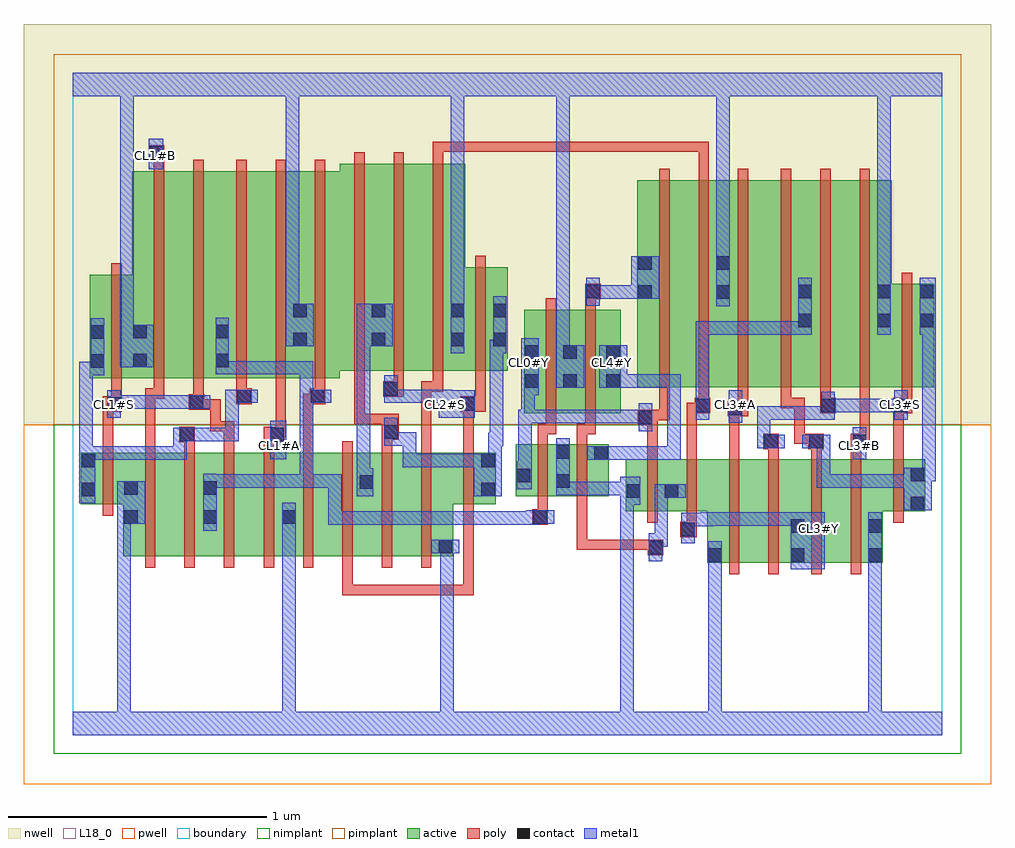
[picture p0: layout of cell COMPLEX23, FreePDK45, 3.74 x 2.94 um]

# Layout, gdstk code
import gdstk
lib = gdstk.Library(unit=1e-6, precision=1e-09)
def R(c, l, rs):  # rectangles x0, y0, x1, y1
    for r in rs: c.add(gdstk.rectangle(r[:2], r[2:], *l))
def A(c, l, x, y, w, h, nx, ny, dx, dy):  # array of equal rectangles
    R(c, l, [(x+i*dx, y+j*dy, x+i*dx+w, y+j*dy+h) for i in range(nx) for j in range(ny)])
active = (1, 0)
pwell = (2, 0)
nwell = (3, 0)
nimplant = (4, 0)
pimplant = (5, 0)
poly = (9, 0)
contact = (10, 0)
metal1 = (11, 0)
L18_0 = (18, 0)
boundary = (235, 0)

complex23 = lib.new_cell('COMPLEX23')
R(complex23, active, [(2.452,0.666,2.632,1.066), (2.452,0.666,2.512,0.956), (2.632,0.666,2.83,1.066), (2.77,0.666,2.95,1.066), (2.77,0.666,2.83,0.838), (2.95,0.666,3.13,1.066), (3.07,0.666,3.13,0.9), (0.196,0.692,0.376,1.092), (0.196,0.692,0.256,1.092), (0.376,0.692,0.56,1.092), (0.5,0.692,0.682,1.092), (0.5,0.692,0.56,0.986), (0.682,0.692,0.866,1.092), (0.806,0.692,0.986,1.092), (0.986,0.692,1.166,1.092), (1.106,0.692,1.29,1.092), (1.106,0.692,1.166,1.092), (1.29,0.692,1.47,1.092), (1.41,0.692,1.47,1.048), (0.806,0.756,0.866,0.874), (2.136,0.866,2.196,1.066), (2.136,0.866,2.344,1.066), (2.284,0.866,2.512,1.066), (3.07,0.866,3.294,1.066), (3.234,0.866,3.294,1.066), (2.284,0.876,2.344,0.974), (0.032,0.892,0.092,1.092), (0.032,0.892,0.256,1.092), (1.41,0.892,1.634,1.092), (1.574,0.892,1.634,1.092), (1.712,0.924,1.772,1.124), (1.712,0.924,1.924,1.124), (1.864,0.924,1.924,1.124), (1.864,0.924,2.072,1.124), (2.012,0.956,2.072,1.124), (1.744,1.244,1.804,1.644), (1.744,1.244,1.952,1.644), (1.892,1.244,2.118,1.644), (2.058,1.244,2.118,1.644), (1.892,1.338,1.952,1.644), (2.182,1.344,2.362,2.144), (2.182,1.344,2.242,2.044), (2.362,1.344,2.542,2.144), (2.482,1.344,2.68,2.144), (2.68,1.344,2.86,2.144), (2.8,1.344,2.984,2.144), (2.984,1.344,3.164,2.144), (3.104,1.344,3.328,1.744), (3.268,1.344,3.328,1.744), (2.8,1.358,2.86,2.044), (0.066,1.38,0.29,1.78), (0.066,1.38,0.126,1.644), (0.23,1.38,0.41,2.18), (0.41,1.38,0.608,2.18), (0.548,1.38,0.728,2.18), (0.548,1.38,0.608,2.044), (0.728,1.38,0.908,2.18), (0.848,1.38,1.032,2.18), (0.848,1.38,0.908,2.044), (1.032,1.408,1.212,2.208), (1.152,1.408,1.336,2.208), (1.152,1.408,1.212,2.044), (1.336,1.408,1.516,2.208), (1.456,1.408,1.68,1.808), (1.456,1.408,1.516,2.208), (1.62,1.408,1.68,1.808), (0.23,1.418,0.29,1.644), (2.482,1.424,2.542,2.044), (3.104,1.43,3.164,2.144)])
R(complex23, pwell, [(-0.188,-0.188,3.548,1.2)])
R(complex23, nwell, [(-0.188,1.2,3.548,2.748)])
R(complex23, nimplant, [(-0.072,-0.072,3.432,1.2)])
R(complex23, pimplant, [(-0.072,1.2,3.432,2.632)])
A(complex23, poly, 0.28, 0.648, 0.04, 0.488, 3, 1, 0.152, 0)
A(complex23, poly, 0.738, 0.648, 0.04, 0.488, 5, 1, 0.152, 0)
A(complex23, poly, 2.266, 1.3, 0.04, 0.888, 3, 1, 0.152, 0)
A(complex23, poly, 2.736, 1.3, 0.04, 0.888, 3, 1, 0.152, 0)
A(complex23, poly, 0.632, 1.336, 0.04, 0.888, 3, 1, 0.152, 0)
A(complex23, poly, 1.088, 1.364, 0.04, 0.888, 3, 1, 0.152, 0)
R(complex23, poly, [(1.042,0.542,1.082,0.582), (1.042,0.542,1.082,0.582), (1.042,0.542,1.082,0.582), (1.042,0.542,1.082,0.688), (1.042,0.542,1.28,0.582), (1.24,0.542,1.28,0.582), (1.24,0.542,1.28,0.582), (1.24,0.542,1.28,0.582), (1.24,0.542,1.386,0.582), (1.346,0.542,1.386,0.582), (1.346,0.542,1.55,0.582), (1.51,0.542,1.55,0.582), (1.51,0.542,1.55,0.582), (1.51,0.542,1.55,0.582), (1.51,0.542,1.55,0.582), (1.51,0.542,1.55,0.582), (1.51,0.542,1.55,0.582), (1.51,0.542,1.55,0.582), (1.51,0.542,1.55,0.888), (2.536,0.622,2.576,1.11), (2.688,0.622,2.728,1.11), (2.854,0.622,2.894,1.11), (3.006,0.622,3.046,1.11), (2.222,0.696,2.282,0.756), (1.948,0.716,1.988,0.756), (1.948,0.716,1.988,0.756), (1.948,0.716,1.988,0.756), (1.948,0.716,2.262,0.756), (1.948,0.716,1.988,0.92), (2.222,0.716,2.262,0.756), (2.222,0.716,2.262,0.756), (2.348,0.766,2.412,0.826), (2.372,0.786,2.412,0.862), (1.776,0.814,1.836,0.874), (2.22,0.822,2.26,1.11), (2.372,0.822,2.412,1.11), (3.17,0.822,3.21,1.11), (1.796,0.834,1.836,0.92), (0.116,0.848,0.156,1.136), (1.51,0.848,1.55,1.136), (1.796,0.88,1.836,1.168), (1.948,0.88,1.988,1.168), (2.22,1.07,2.26,1.238), (2.372,1.07,2.412,1.284), (2.536,1.07,2.576,1.272), (2.688,1.07,2.728,1.146), (2.854,1.07,2.894,1.146), (3.006,1.07,3.046,1.146), (3.17,1.07,3.21,1.284), (0.116,1.096,0.156,1.29), (0.28,1.096,0.32,1.34), (0.432,1.096,0.472,1.172), (0.584,1.096,0.624,1.214), (0.738,1.096,0.778,1.172), (0.89,1.096,0.93,1.32), (1.194,1.096,1.234,1.182), (1.346,1.096,1.386,1.368), (1.51,1.096,1.55,1.29), (2.668,1.106,2.728,1.166), (2.842,1.106,2.902,1.166), (3.006,1.106,3.07,1.166), (2.788,1.126,2.828,1.166), (2.788,1.126,2.882,1.166), (2.788,1.126,2.828,1.304), (3.03,1.126,3.07,1.166), (3.03,1.126,3.08,1.166), (3.04,1.126,3.08,1.34), (1.796,1.128,1.836,1.204), (1.948,1.128,1.988,1.204), (0.412,1.132,0.472,1.192), (0.738,1.132,0.82,1.192), (1.194,1.142,1.26,1.242), (0.78,1.152,0.82,1.192), (0.78,1.152,0.824,1.192), (0.784,1.152,0.824,1.376), (1.796,1.164,1.836,1.204), (1.796,1.164,1.836,1.204), (1.796,1.164,1.868,1.204), (1.828,1.164,1.868,1.24), (1.948,1.164,1.988,1.204), (1.948,1.164,1.988,1.204), (1.948,1.164,2.02,1.204), (1.98,1.164,2.02,1.24), (0.532,1.174,0.572,1.214), (0.532,1.174,0.624,1.214), (0.532,1.174,0.572,1.298), (0.584,1.174,0.624,1.214), (2.184,1.198,2.26,1.258), (1.828,1.2,1.868,1.688), (1.98,1.2,2.02,1.688), (1.088,1.202,1.128,1.242), (1.088,1.202,1.128,1.242), (1.088,1.202,1.128,1.242), (1.088,1.202,1.128,1.242), (1.088,1.202,1.128,1.242), (1.088,1.202,1.128,1.404), (1.088,1.202,1.234,1.242), (2.22,1.218,2.26,1.258), (2.22,1.218,2.306,1.258), (2.266,1.218,2.306,1.34), (2.53,1.232,2.61,1.292), (2.536,1.232,2.576,1.272), (2.536,1.232,2.576,1.272), (2.372,1.244,2.444,1.284), (2.404,1.244,2.444,1.284), (2.404,1.244,2.464,1.304), (2.888,1.244,2.948,1.304), (3.17,1.244,3.21,1.284), (3.17,1.244,3.21,1.284), (3.17,1.244,3.244,1.304), (0.116,1.25,0.19,1.31), (1.498,1.25,1.596,1.31), (1.51,1.25,1.55,1.29), (1.51,1.25,1.55,1.29), (2.57,1.252,2.61,1.34), (0.448,1.258,0.508,1.318), (0.468,1.258,0.572,1.298), (0.532,1.258,0.572,1.298), (2.418,1.264,2.458,1.34), (2.736,1.264,2.776,1.34), (2.736,1.264,2.776,1.304), (2.736,1.264,2.828,1.304), (2.788,1.264,2.828,1.304), (2.888,1.264,2.928,1.34), (3.204,1.264,3.244,1.34), (0.15,1.27,0.19,1.31), (0.15,1.27,0.19,1.31), (0.15,1.27,0.19,1.376), (1.556,1.27,1.596,1.404), (0.466,1.278,0.506,1.376), (0.632,1.28,0.692,1.34), (0.89,1.28,0.956,1.32), (0.916,1.28,0.956,1.32), (0.916,1.28,0.976,1.34), (0.28,1.3,0.336,1.34), (0.296,1.3,0.336,1.34), (0.296,1.3,0.354,1.34), (0.314,1.3,0.354,1.376), (0.632,1.3,0.672,1.376), (0.936,1.3,0.976,1.376), (3.204,1.3,3.244,1.788), (1.2,1.308,1.28,1.368), (1.24,1.328,1.28,1.404), (1.346,1.328,1.416,1.368), (1.376,1.328,1.416,1.368), (1.376,1.328,1.432,1.368), (1.392,1.328,1.432,1.404), (0.15,1.336,0.19,1.824), (0.314,1.336,0.354,2.224), (0.466,1.336,0.506,2.224), (1.556,1.364,1.596,1.852), (1.98,1.648,2.02,1.724), (1.98,1.684,2.04,1.744), (2.418,2.148,2.458,2.294), (0.314,2.184,0.354,2.26), (1.392,2.212,1.432,2.294), (0.294,2.22,0.354,2.28), (1.392,2.254,1.432,2.294), (1.392,2.254,1.432,2.294), (1.392,2.254,1.432,2.294), (1.392,2.254,1.596,2.294), (1.556,2.254,1.596,2.294), (1.556,2.254,1.704,2.294), (1.664,2.254,1.704,2.294), (1.664,2.254,1.704,2.294), (1.664,2.254,1.704,2.294), (1.664,2.254,1.882,2.294), (1.842,2.254,1.882,2.294), (1.842,2.254,1.882,2.294), (1.842,2.254,1.882,2.294), (1.842,2.254,2.118,2.294), (2.078,2.254,2.118,2.294), (2.078,2.254,2.118,2.294), (2.078,2.254,2.118,2.294), (2.078,2.254,2.234,2.294), (2.194,2.254,2.234,2.294), (2.194,2.254,2.234,2.294), (2.194,2.254,2.234,2.294), (2.194,2.254,2.458,2.294), (2.418,2.254,2.458,2.294), (2.418,2.254,2.458,2.294), (2.418,2.254,2.458,2.294)])
A(complex23, contact, 0.852, 1.504, 0.052, 0.052, 3, 2, 0.304, 0.112)
R(complex23, contact, [(2.456,0.67,2.508,0.722), (2.774,0.67,2.826,0.722), (3.074,0.67,3.126,0.722), (2.226,0.7,2.278,0.752), (1.414,0.704,1.466,0.756), (2.352,0.77,2.404,0.822), (2.774,0.782,2.826,0.834), (3.074,0.782,3.126,0.834), (0.2,0.818,0.252,0.87), (0.504,0.818,0.556,0.87), (0.81,0.818,0.862,0.87), (1.78,0.818,1.832,0.87), (3.238,0.87,3.29,0.922), (2.14,0.918,2.192,0.97), (2.288,0.918,2.34,0.97), (0.036,0.924,0.088,0.976), (1.578,0.924,1.63,0.976), (0.2,0.93,0.252,0.982), (0.504,0.93,0.556,0.982), (1.11,0.952,1.162,1.004), (1.868,0.956,1.92,1.008), (1.716,0.978,1.768,1.03), (3.238,0.982,3.29,1.034), (0.036,1.036,0.088,1.088), (1.578,1.036,1.63,1.088), (2.016,1.064,2.068,1.116), (1.868,1.068,1.92,1.12), (2.672,1.11,2.724,1.162), (2.846,1.11,2.898,1.162), (3.014,1.11,3.066,1.162), (0.416,1.136,0.468,1.188), (0.764,1.136,0.816,1.188), (1.204,1.146,1.256,1.198), (2.188,1.202,2.24,1.254), (2.534,1.236,2.586,1.288), (2.408,1.248,2.46,1.3), (2.892,1.248,2.944,1.3), (3.174,1.248,3.226,1.3), (0.134,1.254,0.186,1.306), (1.502,1.254,1.554,1.306), (0.452,1.262,0.504,1.314), (0.636,1.284,0.688,1.336), (0.92,1.284,0.972,1.336), (1.204,1.312,1.256,1.364), (1.748,1.342,1.8,1.394), (1.896,1.342,1.948,1.394), (2.062,1.342,2.114,1.394), (0.07,1.42,0.122,1.472), (0.234,1.422,0.286,1.474), (0.552,1.422,0.604,1.474), (1.748,1.454,1.8,1.506), (1.896,1.454,1.948,1.506), (2.062,1.454,2.114,1.506), (1.624,1.504,1.676,1.556), (0.07,1.532,0.122,1.584), (0.234,1.534,0.286,1.586), (0.552,1.534,0.604,1.586), (2.804,1.576,2.856,1.628), (3.108,1.576,3.16,1.628), (3.272,1.576,3.324,1.628), (1.624,1.616,1.676,1.668), (2.186,1.686,2.238,1.738), (2.486,1.686,2.538,1.738), (1.984,1.688,2.036,1.74), (2.804,1.688,2.856,1.74), (3.108,1.688,3.16,1.74), (3.272,1.688,3.324,1.74), (2.186,1.798,2.238,1.85), (2.486,1.798,2.538,1.85), (0.298,2.224,0.35,2.276)])
R(complex23, metal1, [(0,0,3.36,0.092), (0.172,0.04,0.224,0.092), (0.172,0.04,0.224,0.092), (0.172,0.04,0.224,0.092), (0.172,0.04,0.224,0.092), (0.172,0.04,0.224,0.092), (0.172,0.04,0.224,0.092), (0.172,0.04,0.224,0.092), (0.172,0.04,0.224,0.092), (0.172,0.04,0.224,0.092), (0.172,0.04,0.224,0.092), (0.172,0.04,0.224,0.87), (0.81,0.04,0.862,0.092), (0.81,0.04,0.862,0.092), (0.81,0.04,0.862,0.092), (0.81,0.04,0.862,0.092), (0.81,0.04,0.862,0.092), (0.81,0.04,0.862,0.092), (0.81,0.04,0.862,0.092), (0.81,0.04,0.862,0.092), (0.81,0.04,0.862,0.092), (0.81,0.04,0.862,0.092), (0.81,0.04,0.862,0.092), (0.81,0.04,0.862,0.092), (0.81,0.04,0.862,0.842), (1.42,0.04,1.472,0.092), (1.42,0.04,1.472,0.092), (1.42,0.04,1.472,0.092), (1.42,0.04,1.472,0.092), (1.42,0.04,1.472,0.092), (1.42,0.04,1.472,0.092), (1.42,0.04,1.472,0.092), (1.42,0.04,1.472,0.092), (1.42,0.04,1.472,0.092), (1.42,0.04,1.472,0.092), (1.42,0.04,1.472,0.756), (2.116,0.04,2.168,0.092), (2.116,0.04,2.168,0.092), (2.116,0.04,2.168,0.092), (2.116,0.04,2.168,0.092), (2.116,0.04,2.168,0.092), (2.116,0.04,2.168,0.092), (2.116,0.04,2.168,0.092), (2.116,0.04,2.168,0.092), (2.116,0.04,2.168,0.092), (2.116,0.04,2.168,0.092), (2.116,0.04,2.168,0.092), (2.116,0.04,2.168,0.092), (2.116,0.04,2.168,0.092), (2.116,0.04,2.168,0.092), (2.116,0.04,2.168,0.942), (2.456,0.04,2.508,0.092), (2.456,0.04,2.508,0.092), (2.456,0.04,2.508,0.092), (2.456,0.04,2.508,0.092), (2.456,0.04,2.508,0.092), (2.456,0.04,2.508,0.092), (2.456,0.04,2.508,0.092), (2.456,0.04,2.508,0.092), (2.456,0.04,2.508,0.092), (2.456,0.04,2.508,0.092), (2.456,0.04,2.508,0.694), (3.074,0.04,3.126,0.092), (3.074,0.04,3.126,0.092), (3.074,0.04,3.126,0.092), (3.074,0.04,3.126,0.092), (3.074,0.04,3.126,0.092), (3.074,0.04,3.126,0.092), (3.074,0.04,3.126,0.092), (3.074,0.04,3.126,0.092), (3.074,0.04,3.126,0.694), (2.456,0.642,2.508,0.694), (2.456,0.642,2.508,0.694), (2.456,0.642,2.508,0.75), (2.774,0.642,2.906,0.862), (3.074,0.642,3.126,0.694), (3.074,0.642,3.126,0.694), (3.074,0.642,3.126,0.694), (3.074,0.642,3.126,0.694), (3.074,0.642,3.126,0.862), (2.226,0.672,2.278,0.78), (1.386,0.704,1.494,0.756), (1.42,0.704,1.472,0.756), (1.42,0.704,1.472,0.756), (2.226,0.728,2.3,0.78), (2.248,0.728,2.3,0.78), (2.248,0.728,2.3,0.97), (2.352,0.742,2.404,0.86), (0.504,0.79,0.556,1.01), (0.81,0.79,0.862,0.898), (2.352,0.808,2.476,0.86), (2.424,0.808,2.476,0.862), (2.424,0.81,2.586,0.862), (2.534,0.81,2.586,0.862), (2.534,0.81,2.586,0.862), (2.534,0.81,2.586,0.862), (2.534,0.81,2.76,0.862), (2.708,0.81,2.76,0.862), (2.708,0.81,2.826,0.862), (2.774,0.81,2.826,0.862), (2.774,0.81,2.826,0.862), (0.988,0.814,1.04,0.866), (0.988,0.814,1.046,0.866), (0.988,0.814,1.04,1.008), (0.994,0.814,1.046,0.866), (0.994,0.814,1.156,0.866), (1.104,0.814,1.156,0.866), (1.104,0.814,1.156,0.866), (1.104,0.814,1.156,0.866), (1.104,0.814,1.266,0.866), (1.214,0.814,1.266,0.866), (1.214,0.814,1.362,0.866), (1.31,0.814,1.362,0.866), (1.31,0.814,1.492,0.866), (1.44,0.814,1.492,0.866), (1.44,0.814,1.492,0.866), (1.44,0.814,1.492,0.866), (1.44,0.814,1.602,0.866), (1.55,0.814,1.602,0.866), (1.55,0.814,1.602,0.866), (1.55,0.814,1.602,0.866), (1.55,0.814,1.804,0.866), (1.752,0.814,1.804,0.87), (0.172,0.818,0.224,0.87), (0.172,0.818,0.224,0.87), (0.172,0.818,0.28,0.982), (1.752,0.818,1.804,0.87), (1.752,0.818,1.86,0.87), (3.21,0.87,3.318,1.034), (2.116,0.89,2.168,0.942), (2.116,0.89,2.168,0.942), (2.116,0.89,2.192,0.998), (0.026,0.896,0.088,1.116), (2.248,0.918,2.368,0.97), (1.098,0.924,1.162,1.032), (1.55,0.924,1.658,1.088), (1.868,0.928,1.92,1.148), (1.868,0.928,2.03,0.98), (1.978,0.928,2.03,0.98), (1.978,0.928,2.03,0.98), (1.978,0.928,2.03,0.98), (1.978,0.928,2.168,0.98), (1.716,0.95,1.774,1.058), (0.504,0.956,0.642,1.008), (0.59,0.956,0.642,1.008), (0.59,0.956,0.752,1.008), (0.7,0.956,0.752,1.008), (0.7,0.956,0.752,1.008), (0.7,0.956,0.752,1.008), (0.7,0.956,0.93,1.008), (0.878,0.956,0.93,1.008), (0.878,0.956,0.93,1.008), (0.878,0.956,0.93,1.008), (0.878,0.956,0.936,1.008), (0.878,0.956,0.93,1.336), (0.884,0.956,0.936,1.008), (0.884,0.956,1.04,1.008), (0.988,0.956,1.04,1.008), (2.874,0.956,2.926,1.008), (2.874,0.956,3.116,1.008), (2.874,0.956,2.926,1.162), (3.064,0.956,3.116,1.008), (3.064,0.956,3.116,1.008), (3.064,0.956,3.116,1.008), (3.064,0.956,3.262,1.008), (3.21,0.956,3.262,1.008), (3.21,0.956,3.262,1.008), (1.098,0.98,1.15,1.556), (3.266,0.982,3.318,1.034), (3.266,0.982,3.334,1.034), (3.282,0.982,3.334,1.6), (3.282,0.982,3.334,1.034), (3.282,0.982,3.334,1.034), (1.722,1.006,1.774,1.258), (1.276,1.036,1.328,1.088), (1.276,1.036,1.362,1.088), (1.276,1.036,1.328,1.17), (1.31,1.036,1.362,1.088), (1.31,1.036,1.492,1.088), (1.44,1.036,1.492,1.088), (1.44,1.036,1.492,1.088), (1.44,1.036,1.492,1.088), (1.44,1.036,1.602,1.088), (1.606,1.036,1.658,1.168), (0.026,1.064,0.078,1.116), (0.026,1.064,0.078,1.116), (0.026,1.064,0.078,1.444), (0.036,1.064,0.088,1.116), (0.036,1.064,0.088,1.116), (0.036,1.064,0.296,1.116), (0.244,1.064,0.296,1.116), (0.244,1.064,0.296,1.116), (0.244,1.064,0.296,1.116), (0.244,1.064,0.44,1.116), (0.388,1.064,0.44,1.116), (0.388,1.064,0.44,1.188), (1.988,1.064,2.096,1.116), (2.044,1.064,2.19,1.116), (2.138,1.064,2.19,1.116), (2.138,1.064,2.294,1.116), (2.242,1.064,2.294,1.116), (2.242,1.064,2.35,1.116), (2.298,1.064,2.35,1.116), (2.298,1.064,2.35,1.116), (2.298,1.064,2.35,1.116), (2.298,1.064,2.35,1.394), (0.764,1.066,0.826,1.216), (3.014,1.066,3.066,1.19), (2.644,1.11,2.696,1.162), (2.644,1.11,2.696,1.162), (2.644,1.11,2.752,1.162), (2.644,1.11,2.696,1.272), (2.818,1.11,2.926,1.162), (2.874,1.11,2.926,1.162), (2.874,1.11,2.926,1.162), (1.606,1.116,1.664,1.168), (1.612,1.116,1.664,1.528), (1.204,1.118,1.256,1.226), (1.204,1.118,1.328,1.17), (1.276,1.118,1.328,1.17), (0.388,1.136,0.44,1.188), (0.388,1.136,0.44,1.188), (0.388,1.136,0.496,1.188), (0.444,1.136,0.642,1.188), (0.59,1.136,0.642,1.188), (0.59,1.136,0.642,1.336), (2.188,1.174,2.24,1.282), (1.722,1.206,1.786,1.258), (1.734,1.206,1.786,1.258), (1.734,1.206,1.786,1.258), (1.734,1.206,1.786,1.258), (1.734,1.206,1.786,1.258), (1.734,1.206,1.786,1.258), (1.734,1.206,1.786,1.258), (1.734,1.206,1.914,1.258), (1.734,1.206,1.786,1.366), (1.862,1.206,1.914,1.258), (1.862,1.206,2.03,1.258), (1.978,1.206,2.03,1.258), (1.978,1.206,2.03,1.258), (1.978,1.206,2.03,1.258), (1.978,1.206,2.146,1.258), (2.094,1.206,2.146,1.258), (2.094,1.206,2.24,1.258), (2.534,1.208,2.586,1.334), (2.408,1.22,2.46,1.328), (2.644,1.22,2.696,1.272), (2.644,1.22,2.696,1.272), (2.644,1.22,2.696,1.272), (2.644,1.22,2.816,1.272), (2.764,1.22,2.816,1.272), (2.764,1.22,2.944,1.272), (2.892,1.22,2.944,1.328), (3.174,1.22,3.226,1.334), (0.134,1.226,0.186,1.334), (1.414,1.226,1.554,1.334), (2.892,1.248,2.944,1.3), (2.892,1.248,2.944,1.3), (2.892,1.248,3.054,1.3), (3.002,1.248,3.054,1.3), (3.002,1.248,3.054,1.3), (3.002,1.248,3.054,1.3), (3.002,1.248,3.226,1.3), (0.134,1.262,0.296,1.314), (0.244,1.262,0.296,1.314), (0.244,1.262,0.296,1.314), (0.244,1.262,0.296,1.314), (0.244,1.262,0.296,1.314), (0.244,1.262,0.296,1.314), (0.244,1.262,0.406,1.314), (0.354,1.262,0.406,1.314), (0.354,1.262,0.476,1.314), (0.424,1.262,0.532,1.314), (2.408,1.276,2.46,1.328), (2.408,1.276,2.46,1.328), (2.408,1.276,2.46,1.6), (1.414,1.282,1.466,1.334), (1.414,1.282,1.466,1.336), (0.59,1.284,0.642,1.336), (0.59,1.284,0.66,1.336), (0.608,1.284,0.716,1.336), (0.878,1.284,0.93,1.336), (0.878,1.284,0.93,1.446), (0.878,1.284,0.944,1.336), (0.892,1.284,1,1.336), (1.204,1.284,1.256,1.392), (1.204,1.284,1.266,1.336), (1.214,1.284,1.266,1.336), (1.214,1.284,1.362,1.336), (1.31,1.284,1.362,1.336), (1.31,1.284,1.466,1.336), (1.734,1.314,1.8,1.534), (1.868,1.342,1.976,1.506), (2.034,1.342,2.142,1.506), (2.078,1.342,2.13,1.394), (2.078,1.342,2.13,1.394), (2.078,1.342,2.19,1.394), (2.138,1.342,2.19,1.394), (2.138,1.342,2.19,1.394), (2.138,1.342,2.19,1.394), (2.138,1.342,2.294,1.394), (2.242,1.342,2.294,1.394), (2.242,1.342,2.35,1.394), (2.298,1.342,2.35,1.394), (2.298,1.342,2.35,1.394), (2.298,1.342,2.35,1.394), (0.026,1.392,0.122,1.444), (0.07,1.392,0.122,1.444), (0.07,1.392,0.122,1.612), (0.552,1.394,0.604,1.614), (0.552,1.394,0.642,1.446), (0.59,1.394,0.642,1.446), (0.59,1.394,0.752,1.446), (0.7,1.394,0.752,1.446), (0.7,1.394,0.752,1.446), (0.7,1.394,0.752,1.446), (0.7,1.394,0.93,1.446), (0.878,1.394,0.93,1.446), (0.184,1.422,0.314,1.586), (1.868,1.454,1.92,1.506), (1.868,1.454,1.92,1.506), (1.868,1.454,1.92,1.506), (1.868,1.454,1.92,1.506), (1.868,1.454,1.92,1.506), (1.868,1.454,1.92,1.506), (1.868,1.454,1.92,1.506), (1.868,1.454,1.92,1.506), (1.868,1.454,1.92,1.506), (1.868,1.454,1.92,1.506), (1.868,1.454,1.92,2.52), (1.46,1.476,1.512,1.696), (1.612,1.476,1.676,1.528), (1.624,1.476,1.676,1.528), (1.624,1.476,1.676,1.696), (0.824,1.504,0.932,1.668), (1.098,1.504,1.15,1.556), (1.098,1.504,1.15,1.556), (1.098,1.504,1.15,1.556), (1.098,1.504,1.15,1.556), (1.098,1.504,1.236,1.668), (0.184,1.534,0.236,2.52), (2.408,1.548,2.46,1.6), (2.408,1.548,2.586,1.6), (2.534,1.548,2.586,1.6), (2.534,1.548,2.586,1.6), (2.534,1.548,2.586,1.6), (2.534,1.548,2.76,1.6), (2.708,1.548,2.76,1.6), (2.708,1.548,2.856,1.6), (2.804,1.548,2.856,1.768), (3.108,1.548,3.16,1.768), (3.272,1.548,3.334,1.768), (0.824,1.616,0.876,1.668), (0.824,1.616,0.876,1.668), (0.824,1.616,0.876,2.52), (1.46,1.644,1.512,1.696), (1.46,1.644,1.512,1.696), (1.46,1.644,1.512,2.52), (2.486,1.658,2.538,1.878), (1.984,1.66,2.036,1.768), (1.984,1.686,2.036,1.738), (1.984,1.686,2.036,1.738), (1.984,1.686,2.21,1.738), (2.158,1.686,2.266,1.85), (3.108,1.716,3.16,2.52), (2.486,1.826,2.538,2.52), (0.294,2.186,0.35,2.304), (0,2.468,3.36,2.56), (0.184,2.468,0.236,2.52), (0.184,2.468,0.236,2.52), (0.184,2.468,0.236,2.52), (0.184,2.468,0.236,2.52), (0.184,2.468,0.236,2.52), (0.184,2.468,0.236,2.52), (0.184,2.468,0.236,2.52), (0.184,2.468,0.236,2.52), (0.824,2.468,0.876,2.52), (0.824,2.468,0.876,2.52), (0.824,2.468,0.876,2.52), (0.824,2.468,0.876,2.52), (0.824,2.468,0.876,2.52), (0.824,2.468,0.876,2.52), (1.46,2.468,1.512,2.52), (1.46,2.468,1.512,2.52), (1.46,2.468,1.512,2.52), (1.46,2.468,1.512,2.52), (1.46,2.468,1.512,2.52), (1.46,2.468,1.512,2.52), (1.868,2.468,1.92,2.52), (1.868,2.468,1.92,2.52), (1.868,2.468,1.92,2.52), (1.868,2.468,1.92,2.52), (1.868,2.468,1.92,2.52), (1.868,2.468,1.92,2.52), (2.486,2.468,2.538,2.52), (2.486,2.468,2.538,2.52), (2.486,2.468,2.538,2.52), (2.486,2.468,2.538,2.52), (2.486,2.468,2.538,2.52), (2.486,2.468,2.538,2.52), (2.486,2.468,2.538,2.52), (2.486,2.468,2.538,2.52), (3.108,2.468,3.16,2.52), (3.108,2.468,3.16,2.52), (3.108,2.468,3.16,2.52), (3.108,2.468,3.16,2.52), (3.108,2.468,3.16,2.52), (3.108,2.468,3.16,2.52), (3.108,2.468,3.16,2.52), (3.108,2.468,3.16,2.52)])
R(complex23, L18_0, [(0,0,3.36,0.092), (0.172,0.04,0.224,0.092), (0.172,0.04,0.224,0.092), (0.172,0.04,0.224,0.092), (0.172,0.04,0.224,0.092), (0.172,0.04,0.224,0.092), (0.172,0.04,0.224,0.092), (0.172,0.04,0.224,0.092), (0.172,0.04,0.224,0.092), (0.172,0.04,0.224,0.092), (0.172,0.04,0.224,0.092), (0.172,0.04,0.224,0.87), (0.81,0.04,0.862,0.092), (0.81,0.04,0.862,0.092), (0.81,0.04,0.862,0.092), (0.81,0.04,0.862,0.092), (0.81,0.04,0.862,0.092), (0.81,0.04,0.862,0.092), (0.81,0.04,0.862,0.092), (0.81,0.04,0.862,0.092), (0.81,0.04,0.862,0.092), (0.81,0.04,0.862,0.092), (0.81,0.04,0.862,0.092), (0.81,0.04,0.862,0.092), (0.81,0.04,0.862,0.842), (1.42,0.04,1.472,0.092), (1.42,0.04,1.472,0.092), (1.42,0.04,1.472,0.092), (1.42,0.04,1.472,0.092), (1.42,0.04,1.472,0.092), (1.42,0.04,1.472,0.092), (1.42,0.04,1.472,0.092), (1.42,0.04,1.472,0.092), (1.42,0.04,1.472,0.092), (1.42,0.04,1.472,0.092), (1.42,0.04,1.472,0.756), (2.116,0.04,2.168,0.092), (2.116,0.04,2.168,0.092), (2.116,0.04,2.168,0.092), (2.116,0.04,2.168,0.092), (2.116,0.04,2.168,0.092), (2.116,0.04,2.168,0.092), (2.116,0.04,2.168,0.092), (2.116,0.04,2.168,0.092), (2.116,0.04,2.168,0.092), (2.116,0.04,2.168,0.092), (2.116,0.04,2.168,0.092), (2.116,0.04,2.168,0.092), (2.116,0.04,2.168,0.092), (2.116,0.04,2.168,0.092), (2.116,0.04,2.168,0.942), (2.456,0.04,2.508,0.092), (2.456,0.04,2.508,0.092), (2.456,0.04,2.508,0.092), (2.456,0.04,2.508,0.092), (2.456,0.04,2.508,0.092), (2.456,0.04,2.508,0.092), (2.456,0.04,2.508,0.092), (2.456,0.04,2.508,0.092), (2.456,0.04,2.508,0.092), (2.456,0.04,2.508,0.092), (2.456,0.04,2.508,0.694), (3.074,0.04,3.126,0.092), (3.074,0.04,3.126,0.092), (3.074,0.04,3.126,0.092), (3.074,0.04,3.126,0.092), (3.074,0.04,3.126,0.092), (3.074,0.04,3.126,0.092), (3.074,0.04,3.126,0.092), (3.074,0.04,3.126,0.092), (3.074,0.04,3.126,0.694), (2.456,0.642,2.508,0.75), (2.456,0.642,2.508,0.694), (2.456,0.642,2.508,0.694), (2.774,0.642,2.906,0.862), (3.074,0.642,3.126,0.694), (3.074,0.642,3.126,0.694), (3.074,0.642,3.126,0.694), (3.074,0.642,3.126,0.694), (3.074,0.642,3.126,0.862), (1.386,0.704,1.494,0.756), (1.42,0.704,1.472,0.756), (1.42,0.704,1.472,0.756), (2.352,0.742,2.404,0.86), (2.854,0.774,2.906,0.826), (0.81,0.79,0.862,0.898), (2.352,0.808,2.476,0.86), (2.424,0.808,2.476,0.862), (2.424,0.81,2.586,0.862), (2.534,0.81,2.586,0.862), (2.534,0.81,2.586,0.862), (2.534,0.81,2.586,0.862), (2.534,0.81,2.76,0.862), (2.708,0.81,2.76,0.862), (2.708,0.81,2.826,0.862), (2.774,0.81,2.826,0.862), (2.774,0.81,2.826,0.862), (0.172,0.818,0.224,0.87), (0.172,0.818,0.224,0.87), (0.172,0.818,0.28,0.982), (2.116,0.89,2.168,0.942), (2.116,0.89,2.168,0.942), (2.116,0.89,2.192,0.998), (1.868,0.928,2.03,0.98), (1.868,0.928,1.92,1.148), (1.978,0.928,2.03,0.98), (1.978,0.928,2.03,0.98), (1.978,0.928,2.03,0.98), (1.978,0.928,2.168,0.98), (1.716,0.95,1.774,1.058), (1.722,1.006,1.774,1.258), (1.988,1.064,2.096,1.116), (2.044,1.064,2.19,1.116), (2.138,1.064,2.19,1.116), (2.138,1.064,2.294,1.116), (2.242,1.064,2.294,1.116), (2.242,1.064,2.35,1.116), (2.298,1.064,2.35,1.116), (2.298,1.064,2.35,1.116), (2.298,1.064,2.35,1.116), (2.298,1.064,2.35,1.394), (0.764,1.066,0.826,1.216), (3.014,1.066,3.066,1.19), (0.774,1.094,0.826,1.146), (3.014,1.094,3.066,1.146), (2.644,1.11,2.696,1.162), (2.644,1.11,2.696,1.162), (2.644,1.11,2.752,1.162), (2.644,1.11,2.696,1.272), (2.188,1.174,2.24,1.282), (1.722,1.206,1.786,1.258), (1.734,1.206,1.786,1.258), (1.734,1.206,1.786,1.258), (1.734,1.206,1.786,1.258), (1.734,1.206,1.786,1.258), (1.734,1.206,1.786,1.258), (1.734,1.206,1.786,1.258), (1.734,1.206,1.786,1.366), (1.734,1.206,1.914,1.258), (1.862,1.206,1.914,1.258), (1.862,1.206,2.03,1.258), (1.978,1.206,2.03,1.258), (1.978,1.206,2.03,1.258), (1.978,1.206,2.03,1.258), (1.978,1.206,2.146,1.258), (2.094,1.206,2.146,1.258), (2.094,1.206,2.24,1.258), (2.534,1.208,2.586,1.334), (2.408,1.22,2.46,1.328), (2.644,1.22,2.696,1.272), (2.644,1.22,2.696,1.272), (2.644,1.22,2.696,1.272), (2.644,1.22,2.816,1.272), (2.764,1.22,2.816,1.272), (2.764,1.22,2.944,1.272), (2.892,1.22,2.944,1.328), (3.174,1.22,3.226,1.334), (0.134,1.226,0.186,1.334), (1.414,1.226,1.554,1.334), (2.892,1.248,2.944,1.3), (2.892,1.248,2.944,1.3), (2.892,1.248,3.054,1.3), (3.002,1.248,3.054,1.3), (3.002,1.248,3.054,1.3), (3.002,1.248,3.054,1.3), (3.002,1.248,3.226,1.3), (0.134,1.254,0.186,1.306), (1.414,1.254,1.466,1.306), (2.534,1.254,2.586,1.306), (3.174,1.254,3.226,1.306), (0.134,1.262,0.296,1.314), (0.244,1.262,0.296,1.314), (0.244,1.262,0.296,1.314), (0.244,1.262,0.296,1.314), (0.244,1.262,0.296,1.314), (0.244,1.262,0.296,1.314), (0.244,1.262,0.406,1.314), (0.354,1.262,0.406,1.314), (0.354,1.262,0.476,1.314), (0.424,1.262,0.532,1.314), (2.408,1.276,2.46,1.328), (2.408,1.276,2.46,1.328), (2.408,1.276,2.46,1.6), (1.414,1.282,1.466,1.334), (1.414,1.282,1.466,1.336), (1.204,1.284,1.256,1.392), (1.204,1.284,1.266,1.336), (1.214,1.284,1.266,1.336), (1.214,1.284,1.362,1.336), (1.31,1.284,1.362,1.336), (1.31,1.284,1.466,1.336), (1.734,1.314,1.8,1.534), (1.868,1.342,1.976,1.506), (2.034,1.342,2.142,1.506), (2.078,1.342,2.13,1.394), (2.078,1.342,2.13,1.394), (2.078,1.342,2.19,1.394), (2.138,1.342,2.19,1.394), (2.138,1.342,2.19,1.394), (2.138,1.342,2.19,1.394), (2.138,1.342,2.294,1.394), (2.242,1.342,2.294,1.394), (2.242,1.342,2.35,1.394), (2.298,1.342,2.35,1.394), (2.298,1.342,2.35,1.394), (2.298,1.342,2.35,1.394), (1.734,1.414,1.786,1.466), (2.054,1.414,2.106,1.466), (0.184,1.422,0.314,1.586), (1.868,1.454,1.92,1.506), (1.868,1.454,1.92,1.506), (1.868,1.454,1.92,1.506), (1.868,1.454,1.92,1.506), (1.868,1.454,1.92,1.506), (1.868,1.454,1.92,1.506), (1.868,1.454,1.92,1.506), (1.868,1.454,1.92,1.506), (1.868,1.454,1.92,1.506), (1.868,1.454,1.92,1.506), (1.868,1.454,1.92,2.52), (1.46,1.476,1.512,1.696), (0.824,1.504,0.932,1.668), (0.184,1.534,0.236,2.52), (2.408,1.548,2.46,1.6), (2.408,1.548,2.586,1.6), (2.534,1.548,2.586,1.6), (2.534,1.548,2.586,1.6), (2.534,1.548,2.586,1.6), (2.534,1.548,2.76,1.6), (2.708,1.548,2.76,1.6), (2.708,1.548,2.856,1.6), (2.804,1.548,2.856,1.768), (3.108,1.548,3.16,1.768), (0.824,1.616,0.876,1.668), (0.824,1.616,0.876,1.668), (0.824,1.616,0.876,2.52), (1.46,1.644,1.512,1.696), (1.46,1.644,1.512,1.696), (1.46,1.644,1.512,2.52), (2.486,1.658,2.538,1.878), (3.108,1.716,3.16,2.52), (2.486,1.826,2.538,2.52), (0.294,2.186,0.35,2.304), (0.294,2.214,0.346,2.266), (0,2.468,3.36,2.56), (0.184,2.468,0.236,2.52), (0.184,2.468,0.236,2.52), (0.184,2.468,0.236,2.52), (0.184,2.468,0.236,2.52), (0.184,2.468,0.236,2.52), (0.184,2.468,0.236,2.52), (0.184,2.468,0.236,2.52), (0.184,2.468,0.236,2.52), (0.824,2.468,0.876,2.52), (0.824,2.468,0.876,2.52), (0.824,2.468,0.876,2.52), (0.824,2.468,0.876,2.52), (0.824,2.468,0.876,2.52), (0.824,2.468,0.876,2.52), (1.46,2.468,1.512,2.52), (1.46,2.468,1.512,2.52), (1.46,2.468,1.512,2.52), (1.46,2.468,1.512,2.52), (1.46,2.468,1.512,2.52), (1.46,2.468,1.512,2.52), (1.868,2.468,1.92,2.52), (1.868,2.468,1.92,2.52), (1.868,2.468,1.92,2.52), (1.868,2.468,1.92,2.52), (1.868,2.468,1.92,2.52), (1.868,2.468,1.92,2.52), (2.486,2.468,2.538,2.52), (2.486,2.468,2.538,2.52), (2.486,2.468,2.538,2.52), (2.486,2.468,2.538,2.52), (2.486,2.468,2.538,2.52), (2.486,2.468,2.538,2.52), (2.486,2.468,2.538,2.52), (2.486,2.468,2.538,2.52), (3.108,2.468,3.16,2.52), (3.108,2.468,3.16,2.52), (3.108,2.468,3.16,2.52), (3.108,2.468,3.16,2.52), (3.108,2.468,3.16,2.52), (3.108,2.468,3.16,2.52), (3.108,2.468,3.16,2.52), (3.108,2.468,3.16,2.52)])
R(complex23, boundary, [(0,0,3.36,2.56)])
complex23.add(gdstk.Label('CL0#Y', (1.76,1.44), layer=11, texttype=0))
complex23.add(gdstk.Label('CL1#A', (0.8,1.12), layer=11, texttype=0))
complex23.add(gdstk.Label('CL1#B', (0.32,2.24), layer=11, texttype=0))
complex23.add(gdstk.Label('CL1#S', (0.16,1.28), layer=11, texttype=0))
complex23.add(gdstk.Label('CL2#S', (1.44,1.28), layer=11, texttype=0))
complex23.add(gdstk.Label('CL3#A', (2.56,1.28), layer=11, texttype=0))
complex23.add(gdstk.Label('CL3#B', (3.04,1.12), layer=11, texttype=0))
complex23.add(gdstk.Label('CL3#S', (3.2,1.28), layer=11, texttype=0))
complex23.add(gdstk.Label('CL3#Y', (2.88,0.8), layer=11, texttype=0))
complex23.add(gdstk.Label('CL4#Y', (2.08,1.44), layer=11, texttype=0))

lib.write_gds('COMPLEX23.gds')
